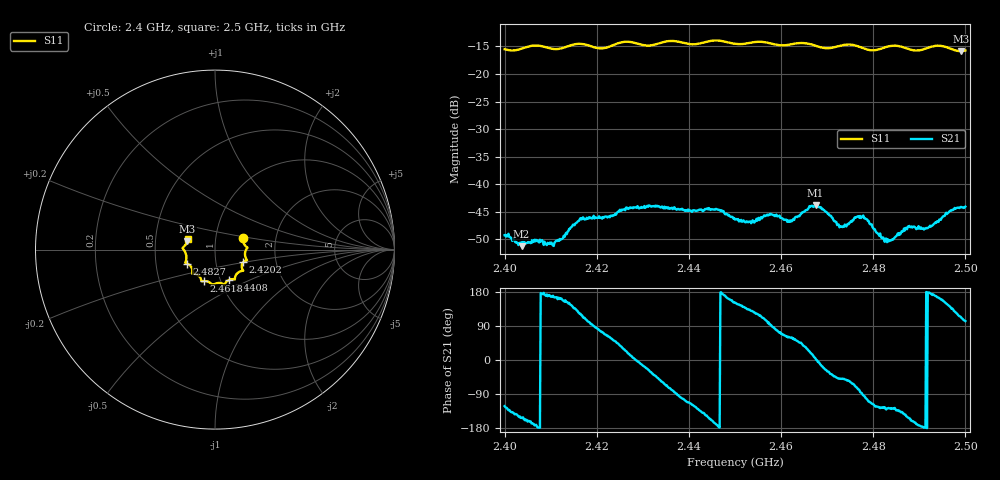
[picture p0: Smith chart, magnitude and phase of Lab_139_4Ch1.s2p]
# Hz S RI R 50
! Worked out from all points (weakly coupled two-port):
!   601 points, 2.4 GHz to 2.5 GHz, reference 50 ohm
!   highest |S21| = -43.86 dB at 2.4675 GHz (marker M1); lowest = -51.3 dB at 2.4037 GHz (marker M2)
!   lowest |S11| = -15.8 dB at 2.499 GHz (marker M3), VSWR 1.38, Z = 36.5 + j3.51 ohm
!   |S11| at or under -10 dB: start of sweep to end of sweep
!   S12 and S22 are empty: the file has one direction only
!   S11 on the Smith chart (normalised r, x): 2.4 GHz: 1.36, +0.17; 2.4202 GHz: 1.36, -0.20; 2.4408 GHz: 1.10, -0.38; 2.4618 GHz: 0.84, -0.30; 2.4827 GHz: 0.72, -0.12; 2.5 GHz: 0.73, +0.09
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2.4e9  0.1561 0.0621  -0.00181 -0.00291  0 0  0 0
2.403667e9  0.1685 0.0212  -0.00242 -0.00124  0 0  0 0
2.4105e9  0.1687 -0.0116  -0.00272 0.000495  0 0  0 0
2.416667e9  0.1781 -0.0594  -0.00225 0.00421  0 0  0 0
2.420167e9  0.1568 -0.0704  0.000684 0.00487  0 0  0 0
2.433333e9  0.1119 -0.152  0.00418 -0.00466  0 0  0 0
2.440833e9  0.0788 -0.1688  -0.00277 -0.00505  0 0  0 0
2.446333e9  0.051 -0.1949  -0.00581 -0.000489  0 0  0 0
2.45e9  0.0279 -0.186  -0.00415 0.00231  0 0  0 0
2.454e9  -0.00717 -0.1942  -0.0028 0.00366  0 0  0 0
2.457833e9  -0.023 -0.1879  -0.000175 0.00532  0 0  0 0
2.461833e9  -0.0601 -0.1751  0.00234 0.00402  0 0  0 0
2.466667e9  -0.0769 -0.1686  0.00612 0.00171  0 0  0 0
2.4675e9  -0.0787 -0.1625  0.0064 0.000382  0 0  0 0
2.473167e9  -0.1223 -0.1351  0.00265 -0.00315  0 0  0 0
2.478e9  -0.1259 -0.1152  -0.000412 -0.00488  0 0  0 0
2.482667e9  -0.1571 -0.0778  -0.00199 -0.00248  0 0  0 0
2.483333e9  -0.1612 -0.0762  -0.0018 -0.00242  0 0  0 0
2.4875e9  -0.1602 -0.0555  -0.00362 -0.00194  0 0  0 0
2.492167e9  -0.1747 -0.000467  -0.00407 0.000147  0 0  0 0
2.499e9  -0.1543 0.0469  -0.0025 0.00567  0 0  0 0
2.5e9  -0.1518 0.0615  -0.00136 0.00607  0 0  0 0
